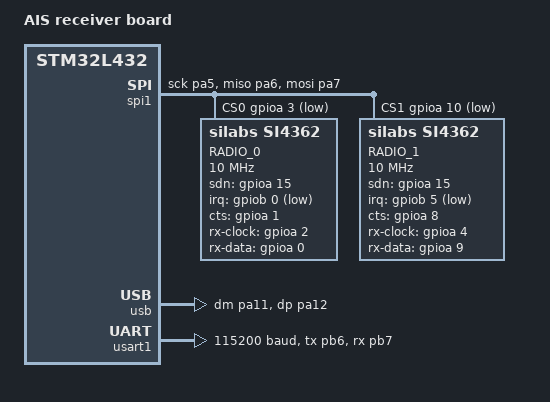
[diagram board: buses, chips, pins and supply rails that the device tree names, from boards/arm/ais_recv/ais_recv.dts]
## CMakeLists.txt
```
cmake_minimum_required(VERSION 3.13.1)

set(BOARD_ROOT "${CMAKE_CURRENT_SOURCE_DIR}")
set(BOARD ais_recv)

set(ZEPHYR_EXTRA_MODULES "${CMAKE_CURRENT_SOURCE_DIR}/hdlc")

find_package(Zephyr REQUIRED HINTS "${CMAKE_CURRENT_SOURCE_DIR}/../zephyr")
project(ais_recv_fw)

target_sources(app PRIVATE
  src/main.c
  src/si4362.c
  src/radio_config_ch1.c
  src/radio_config_ch2.c
  src/radio_patch.c)

set(gen_dir ${ZEPHYR_BINARY_DIR}/include/generated/)
set(source_file hdlc/tests/src/gnuais-stereo-2rx-ch1-bitstream.bin)

generate_inc_file_for_target(app ${source_file} ${gen_dir}/bitstream.inc)
```

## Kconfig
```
# Copyright (c) 2020 Ievgenii Meshcheriakov
# SPDX-License-Identifier: Apache-2.0

mainmenu "AIS Receiver Firmware"

config USB_DEVICE_PID
	default USB_PID_CONSOLE_SAMPLE

config SI4362_INIT_PRIORITY
	int "SI4362 init priority"
	default 75
	help
	  Device initialization priority

config RADIO_IQ_CALIBRATION
	bool "Enable radio IQ calibration"
	default y

config APP_SIMULATE
	bool "Simulate the receiver data"

module = SI4362
module-str = si4362
source "subsys/logging/Kconfig.template.log_config"

source "Kconfig.zephyr"
```

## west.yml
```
manifest:
  remotes:
    - name: zephyrporject-rtos
      url-base: https://github.com/zephyrproject-rtos
  projects:
    - name: zephyr
      remote: zephyrporject-rtos
      revision: f004410aa1a792201e51adcd9358608f74f6f5c3
      import: true
  self:
    path: application
```

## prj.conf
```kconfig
CONFIG_GPIO=y

CONFIG_USB=y
CONFIG_USB_DEVICE_STACK=y
CONFIG_USB_SELF_POWERED=n
CONFIG_USB_DEVICE_PRODUCT="AIS receiver"
CONFIG_USB_CDC_ACM=y

CONFIG_CONSOLE_SUBSYS=y
CONFIG_CONSOLE_GETCHAR=y

CONFIG_UART_INTERRUPT_DRIVEN=y

CONFIG_SPI=y
CONFIG_SPI_STM32_INTERRUPT=y
CONFIG_SPI_STM32_USE_HW_SS=n

CONFIG_HDLC=y
CONFIG_APP_SIMULATE=n

CONFIG_PRINTK=y
CONFIG_SHELL=y
CONFIG_LOG=y
CONFIG_INIT_STACKS=y
CONFIG_THREAD_STACK_INFO=y
CONFIG_KERNEL_SHELL=y
CONFIG_THREAD_MONITOR=y
CONFIG_BOOT_BANNER=n
CONFIG_THREAD_NAME=y

CONFIG_LOG_PRINTK=y
CONFIG_SHELL_BACKEND_SERIAL_INIT_PRIORITY=99

CONFIG_RADIO_IQ_CALIBRATION=y
CONFIG_OPENOCD_SUPPORT=y

# CONFIG_APP_SIMULATE=y
# CONFIG_ASSERT=y
```

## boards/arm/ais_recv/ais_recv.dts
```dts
/*
 * Copyright (c) 2017 Linaro Limited
 *
 * SPDX-License-Identifier: Apache-2.0
 */

/dts-v1/;
#include <st/l4/stm32l432Xc.dtsi>
#include <st/l4/stm32l432k(b-c)ux-pinctrl.dtsi>

/ {
	model = "AIS receiver board";
	compatible = "st,stm32l432";

	chosen {
		zephyr,console = &usart1;
		zephyr,shell-uart = &usart1;
		zephyr,sram = &sram0;
		zephyr,flash = &flash0;
	};
};

&spi1 {
	pinctrl-0 = <&spi1_sck_pa5 &spi1_miso_pa6 &spi1_mosi_pa7>;
	status = "okay";
	cs-gpios = <&gpioa 3 GPIO_ACTIVE_LOW>, <&gpioa 10 GPIO_ACTIVE_LOW>;

	radio0: si4362@0 {
		compatible = "silabs,si4362";
		reg = <0>;
		label = "RADIO_0";
		spi-max-frequency = <10000000>;

		clock-frequency = <32000000>; // oops!
		clock-output; // On GPIO0

		sdn-gpios = <&gpioa 15 GPIO_ACTIVE_HIGH>;
		irq-gpios = <&gpiob 0 (GPIO_PULL_UP | GPIO_ACTIVE_LOW)>;
		cts-gpios = <&gpioa 1 (GPIO_PULL_DOWN | GPIO_ACTIVE_HIGH)>;      // GPIO1
		rx-clock-gpios = <&gpioa 2 (GPIO_PULL_DOWN | GPIO_ACTIVE_HIGH)>; // GPIO2
		rx-data-gpios = <&gpioa 0 (GPIO_PULL_DOWN | GPIO_ACTIVE_HIGH)>;  // GPIO3

	};

	radio1: si4362@1 {
		compatible = "silabs,si4362";
		reg = <1>;
		label = "RADIO_1";
		spi-max-frequency = <10000000>;

		clock-frequency = <32000000>;
		bypass-crystal;
		// SDN is shared
		sdn-gpios = <&gpioa 15 GPIO_ACTIVE_HIGH>;
		irq-gpios = <&gpiob 5 (GPIO_PULL_UP | GPIO_ACTIVE_LOW)>;
		cts-gpios = <&gpioa 8 (GPIO_PULL_DOWN | GPIO_ACTIVE_HIGH)>;      // GPIO1
		rx-clock-gpios = <&gpioa 4 (GPIO_PULL_DOWN | GPIO_ACTIVE_HIGH)>; // GPIO2
		rx-data-gpios = <&gpioa 9 (GPIO_PULL_DOWN | GPIO_ACTIVE_HIGH)>;  // GPIO3
	};
};

&usb {
	pinctrl-0 = <&usb_dm_pa11 &usb_dp_pa12>;
	status = "okay";
};

&usart1 {
	pinctrl-0 = <&usart1_tx_pb6 &usart1_rx_pb7>;
	status = "okay";
	current-speed = <115200>;
};
```

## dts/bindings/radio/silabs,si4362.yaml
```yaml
#
# Copyright (c) 2020 Ievgenii Meshcheriakov
#
# SPDX-License-Identifier: Apache-2.0
#

description: >
    This is a representation of the SiLabs SI4362 radio receiver.

compatible: "silabs,si4362"

include: [spi-device.yaml]

properties:
    clock-frequency:
      type: int
      required: true

    clock-output:
      type: boolean
    bypass-crystal:
      type: boolean

    sdn-gpios:
      type: phandle-array
    irq-gpios:
      type: phandle-array
    cts-gpios:
      type: phandle-array
    rx-clock-gpios:
      type: phandle-array
    rx-data-gpios:
      type: phandle-array
```

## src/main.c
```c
/*
 * Copyright (c) 2020 Ievgenii Meshcheriakov.
 *
 * SPDX-License-Identifier: Apache-2.0
 */

#include <zephyr.h>
#include <kernel.h>
#include <usb/usb_device.h>
#include <stdio.h>
#include <console/tty.h>

#include "hdlc.h"
#include "si4362.h"
#include "radio_configs.h"

#define LOG_LEVEL CONFIG_LOG_DEFAULT_LEVEL
#include <logging/log.h>
LOG_MODULE_REGISTER(app);

#define AIS_NUM_CHANNELS 2
#define AIS_QUEUE_LENGTH 16

K_MSGQ_DEFINE(ais_msgq, 1, AIS_QUEUE_LENGTH, 1);

#define DEF_AIS_CALLBACK(name, index)						\
static void name(const struct device *dev, int raw_bit)				\
{										\
	__ASSERT_NO_MSG(raw_bit >= 0);						\
	uint8_t msg = (index << 1) | (raw_bit & 1);				\
	int ret = k_msgq_put(&ais_msgq, &msg, K_NO_WAIT);			\
	if (ret != 0) {								\
		LOG_ERR("Failed to put message: %d", ret);			\
	}									\
}

DEF_AIS_CALLBACK(ch1_callback, 0)
DEF_AIS_CALLBACK(ch2_callback, 1)

struct ais_config {
	const char *dev_name;
	const uint8_t *config_data;
	si4362_rx_callback callback;
};

struct ais_state {
	const struct device *dev;
	struct hdlc_data hdlc;
	uint8_t channel_index;
};

#define NMEA_MAX_LENGTH 82
#define AIVDM_OVERHEAD (strlen("!AIVDM,0,0,0,A,,0,*00\r\n"))
// Note: this is the limit for multipart messages, it is one greater for single
// part.
#define MAX_SENTENCE_CHARS (NMEA_MAX_LENGTH - AIVDM_OVERHEAD)

static char nmea_buffer[NMEA_MAX_LENGTH + 1];
static uint8_t multipart_counter;

static struct tty_serial tty;

static char get_ascii6(const uint8_t *buf, uint16_t bit_offset)
{
	uint16_t byte_idx = bit_offset / 8;
	uint16_t bit_idx = bit_offset % 8;
	uint8_t n;

	if (bit_idx <= 2) {
		n = (buf[byte_idx] >> (2 - bit_idx)) & 0x3f;
	} else {
		n = ((buf[byte_idx] << (bit_idx - 2)) & 0x3f)
		  | (buf[byte_idx + 1] >> (10 - bit_idx));
	}

	__ASSERT_NO_MSG(n < 64);

	return (n >= 40) ? n + 56 : n + 48;
}

static void hdlc_callback(const struct hdlc_data *hdlc, const uint8_t *buf, size_t len)
{
	const struct ais_state *ais = CONTAINER_OF(hdlc, struct ais_state, hdlc);
	uint16_t num_chars = ceiling_fraction(len * 8, 6);

	bool multipart = num_chars > MAX_SENTENCE_CHARS + 1;
	uint8_t num_parts = multipart ?
		ceiling_fraction(num_chars, MAX_SENTENCE_CHARS) : 1;
	LOG_DBG("len: %zu, chars: %u, parts: %u", len, num_chars, num_parts);

	char channel = 'A' + ais->channel_index;
	uint16_t bit_offset = 0;
	uint16_t remaining_chars = num_chars;

	for (uint8_t part = 1; part <= num_parts; part++) {
		char *p = nmea_buffer;

		/* Put header. */
		if (multipart) {
			p += sprintf(p, "!AIVDM,%u,%u,%u,%c,", num_parts, part,
				     multipart_counter, channel);
		} else {
			p += sprintf(p, "!AIVDM,1,1,,%c,", channel);
		}

		/* Put the data. */
		uint16_t part_chars = remaining_chars;
		if (multipart && remaining_chars > MAX_SENTENCE_CHARS) {
			part_chars = MAX_SENTENCE_CHARS;
		}

		LOG_DBG("part: %u, chars: %u", part, part_chars);

		for (int i = 0; i < part_chars; i++) {
			*p++ = get_ascii6(buf, bit_offset);
			bit_offset += 6;
		}

		remaining_chars -= part_chars;

		/* Add pad info */
		uint8_t pad = 0;

		if (part == num_parts) {
			__ASSERT_NO_MSG(num_chars * 6 >= len * 8);
			pad = num_chars * 6 - len * 8;
		}

		p += sprintf(p, ",%u", pad);

		/* Calculate the checksum. */
		uint8_t sum = 0;

		for (const char *q = nmea_buffer + 1; q < p; q++) {
			sum ^= *q;
		}

		/* Add the checksum and the line end. */
		p += sprintf(p, "*%02X\r\n", sum);

		__ASSERT(PART_OF_ARRAY(nmea_buffer, p), "nmea_buffer overlow");

		tty_write(&tty, nmea_buffer, p - nmea_buffer);
	}

	if (multipart) {
		multipart_counter++;
		if (multipart_counter > 9) {
			multipart_counter = 0;
		}
	}
}

static const struct ais_config ais_configs[AIS_NUM_CHANNELS] = {
	{
		.dev_name = "RADIO_0",
		.config_data = radio_config_ch1,
		.callback = ch1_callback,
	},
	{
		.dev_name = "RADIO_1",
		.config_data = radio_config_ch2,
		.callback = ch2_callback,
	},
};

static struct ais_state ais_states[AIS_NUM_CHANNELS];

static void init_radios(void)
{
	/* Reset devices first because of shared SDN. */
	for (int i = 0; i < ARRAY_SIZE(ais_configs); i++) {
#ifndef CONFIG_APP_SIMULATE
		const char *dev_name = ais_configs[i].dev_name;
		const struct device *dev = device_get_binding(dev_name);
		__ASSERT_NO_MSG(dev != NULL);
		si4362_reset(dev);
		ais_states[i].channel_index = i;
		ais_states[i].dev = dev;
#endif
	}

	for (int i = 0; i < ARRAY_SIZE(ais_configs); i++) {
		hdlc_init(&ais_states[i].hdlc, hdlc_callback);
#ifndef CONFIG_APP_SIMULATE
		const struct ais_config *cfg = &ais_configs[i];
		const struct device *dev = ais_states[i].dev;
		si4362_send_init_commands(dev, radio_patch);
		si4362_send_init_commands(dev, cfg->config_data);
		si4362_set_callback(dev, cfg->callback);
		si4362_configure_interrupt(dev, true);
#endif
	}
}

#ifdef CONFIG_APP_SIMULATE

#define SYM_STACK_SIZE 500
#define SYM_PRIORITY 5

K_THREAD_STACK_DEFINE(sym_stack_area, SYM_STACK_SIZE);
static struct k_thread sym_thread_data;

static const uint8_t bitstream[] = {
#include <bitstream.inc>
};

static void sym_thread(void *arg1, void *arg2, void *arg3)
{
	k_sleep(K_SECONDS(10));

	LOG_INF("simulation started");

	for (size_t i = 0; i < ARRAY_SIZE(bitstream); i++) {
		uint8_t byte = bitstream[i];

		for (int bit = 0; bit < 8; bit++) {
			k_usleep(1000000U / 9600U);
			ch1_callback(NULL, (byte & 1) != 0);
			byte >>= 1;
		}
	}

	LOG_INF("simulation ended");
}

static void start_simulation_thread(void)
{
	k_thread_create(&sym_thread_data, sym_stack_area,
		K_THREAD_STACK_SIZEOF(sym_stack_area),
		sym_thread,
		NULL, NULL, NULL,
		SYM_PRIORITY, 0, K_NO_WAIT);
}

#endif

void main(void)
{
	if (usb_enable(NULL)) {
		k_oops();
		return;
	}

	const struct device *dev = device_get_binding("CDC_ACM_0");
	if (!dev) {
		k_oops();
		return;
	}

	tty_init(&tty, dev);

	init_radios();

#ifdef CONFIG_APP_SIMULATE
	start_simulation_thread();
#endif

	for (;;) {
		uint8_t msg;
		k_msgq_get(&ais_msgq, &msg, K_FOREVER);
		int bit = msg & 1;
		int idx = msg >> 1;

		hdlc_input(&ais_states[idx].hdlc, bit);
	}
}
```

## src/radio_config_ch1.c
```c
#include "radio_configs.h"
#include <autoconf.h>
#ifndef CONFIG_RADIO_IQ_CALIBRATION
#include "radio_config_ch1.h"
#else
#include "radio_config_ch1_cal.h"
#endif

const uint8_t radio_config_ch1[] = RADIO_CONFIGURATION_DATA_ARRAY;
```

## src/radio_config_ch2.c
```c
#include "radio_configs.h"
#include <autoconf.h>
#ifndef CONFIG_RADIO_IQ_CALIBRATION
#include "radio_config_ch2.h"
#else
#include "radio_config_ch2_cal.h"
#endif

const uint8_t radio_config_ch2[] = RADIO_CONFIGURATION_DATA_ARRAY;
```

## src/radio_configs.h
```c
#ifndef APPLICATION_SRC_RADIO_CONFIGS_H_
#define APPLICATION_SRC_RADIO_CONFIGS_H_
#include <stdint.h>

extern const uint8_t radio_config_ch1[];
extern const uint8_t radio_config_ch2[];
extern const uint8_t radio_patch[];

#endif
```

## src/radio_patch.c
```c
#include "radio_configs.h"
#include "si446x_patch.h"

const uint8_t radio_patch[] = {
	SI446X_PATCH_CMDS,
	0x00,
};
```

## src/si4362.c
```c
/*
 * Copyright (c) 2020 Ievgenii Meshcheriakov.
 *
 * SPDX-License-Identifier: Apache-2.0
 */

#define DT_DRV_COMPAT silabs_si4362

#include <errno.h>
#include <device.h>
#include <init.h>
#include <drivers/spi.h>

#include "si4362.h"

#define LOG_LEVEL CONFIG_SI4362_LOG_LEVEL
#include <logging/log.h>
LOG_MODULE_REGISTER(si4362);

#define SI4362_RESET_DELAY K_MSEC(10)
#define SI4362_CTS_TIMEOUT 10000

static void rx_clock_callback_handler(const struct device *port,
	struct gpio_callback *cb, gpio_port_pins_t pins)
{
	struct si4362_drv_data *drv_data =
		CONTAINER_OF(cb, struct si4362_drv_data, rx_clock_cb);

	if (drv_data->rx_callback == NULL) {
		return;
	}

	const struct device *dev = drv_data->dev;
	const struct si4362_config *config = dev->config;

	if (pins & BIT(config->rx_clock.pin)) {
		int data = gpio_pin_get(drv_data->rx_data_dev,
			config->rx_data.pin);
		drv_data->rx_callback(dev, data);
	}
}

int si4362_reset(const struct device *dev)
{
	const struct si4362_config *config = dev->config;
	struct si4362_drv_data *drv_data = dev->data;

	if (!drv_data->sdn_dev) {
		return -ENOTSUP;
	}

	k_sleep(SI4362_RESET_DELAY);
	gpio_pin_set(drv_data->sdn_dev, config->sdn.pin, 1);
	k_sleep(SI4362_RESET_DELAY);
	gpio_pin_set(drv_data->sdn_dev, config->sdn.pin, 0);
	k_sleep(SI4362_RESET_DELAY);

	return 0;
}

int si4362_get_cts(const struct device *dev)
{
	const struct si4362_config *config = dev->config;
	struct si4362_drv_data *drv_data = dev->data;

	if (!drv_data->cts_dev) {
		return -ENOTSUP;
	}

	return gpio_pin_get(drv_data->cts_dev, config->cts.pin);
}

int si4362_configure_interrupt(const struct device *dev, bool enable)
{
	const struct si4362_config *config = dev->config;
	struct si4362_drv_data *drv_data = dev->data;

	if (!drv_data->rx_clock_dev) {
		return -ENOTSUP;
	}

	gpio_flags_t flags = enable ?
		(GPIO_INT_ENABLE | GPIO_INT_EDGE_RISING) :
		GPIO_INT_DISABLE;

	return gpio_pin_interrupt_configure(drv_data->rx_clock_dev,
		config->rx_clock.pin, flags);
}

void si4362_set_callback(const struct device *dev, si4362_rx_callback callback)
{
	struct si4362_drv_data *drv_data = dev->data;
	drv_data->rx_callback = callback;
}

static int send_command(const struct device *dev, size_t len, const void *data)
{
	struct si4362_drv_data *drv_data = dev->data;
	int ret;

	const struct spi_buf tx_buf[] = {
		{
			.len = len,
			.buf = (void *)data,
		},
	};

	const struct spi_buf_set tx = {
		.buffers = tx_buf,
		.count = ARRAY_SIZE(tx_buf),
	};

	ret = spi_write(drv_data->spi, &drv_data->spi_cfg, &tx);
	spi_release(drv_data->spi, &drv_data->spi_cfg);
	return ret;
}

static int get_response(const struct device *dev, size_t len, void *data)
{
	struct si4362_drv_data *drv_data = dev->data;
	int ret;

	uint8_t cmd = 0x44;
	uint8_t cts = 0;

	const struct spi_buf tx_buf[] = {
		{
			.len = 1,
			.buf = &cmd,
		},
		{
			.len = 1,
			.buf = NULL,
		},
	};

	const struct spi_buf rx_buf[] = {
		{
			.len = 1,
			.buf = NULL,
		},
		{
			.len = 1,
			.buf = &cts,
		},
	};

	const struct spi_buf_set tx = {
		.buffers = tx_buf,
		.count = ARRAY_SIZE(tx_buf),
	};

	const struct spi_buf_set rx = {
		.buffers = rx_buf,
		.count = ARRAY_SIZE(rx_buf),
	};

	ret = spi_transceive(drv_data->spi, &drv_data->spi_cfg, &tx, &rx);

	if (ret < 0) {
		goto ret_unlock;
	}

	if (cts != 0xff) {
		ret = -EAGAIN;
		goto ret_unlock;
	}

	/* read the response. */
	ret = 0;
	if (len > 0) {
		const struct spi_buf resp_buf[] = {
			{
				.len = len,
				.buf = data,
			},
		};

		const struct spi_buf_set resp_rx = {
			.buffers = resp_buf,
			.count = ARRAY_SIZE(resp_buf),
		};

		ret = spi_read(drv_data->spi, &drv_data->spi_cfg, &resp_rx);
	}

ret_unlock:
	spi_release(drv_data->spi, &drv_data->spi_cfg);
	return ret;
}

static int transceive(const struct device *dev,
		      size_t tx_len, const void *data_tx,
		      size_t rx_len, void *data_rx)
{
	int ret;
	ret = send_command(dev, tx_len, data_tx);
	if (ret < 0) {
		return ret;
	}

	for (int retries = 0; retries < SI4362_CTS_TIMEOUT; retries++) {
		ret = get_response(dev, rx_len, data_rx);
		if (ret != -EAGAIN) {
			return ret;
		}
	}

	LOG_ERR("CTS timeout exceeded");
	return -EIO;
}

int si4362_send_init_commands(const struct device *dev, const uint8_t *cmds)
{
	const uint8_t *p = cmds;
	int ret = 0;

	for (;;) {
		size_t cmd_len = *p++;
		if (cmd_len == 0) {
			break;
		}

		LOG_DBG("command: 0x%02x (len = %d)", (int)*p, (int)cmd_len);

		ret = transceive(dev, cmd_len, p, 0, NULL);
		if (ret < 0) {
			return ret;
		}

		p += cmd_len;
	}

	return 0;
}

#define CONFIGURE_PIN(name, extra_flags)					\
({if (config->name.dev) {							\
	drv_data->name##_dev = device_get_binding(config->name.dev);		\
	if (!drv_data->name##_dev) {						\
		LOG_ERR("Unable to get GPI device for " #name);			\
		return -ENODEV;							\
	}									\
	int ret = gpio_pin_configure(drv_data->name##_dev, config->name.pin,	\
		config->name.flags | (extra_flags));				\
	if (ret < 0) {								\
		return ret;							\
	}									\
	LOG_DBG(#name " configured on %s:%u",					\
		config->name.dev, config->name.pin);				\
}})

static int si4362_init(const struct device *dev)
{
	const struct si4362_config *config = dev->config;
	struct si4362_drv_data *drv_data = dev->data;

	drv_data->dev = dev;
	drv_data->rx_callback = NULL;

	drv_data->spi = device_get_binding(config->spi_dev_name);
	if (!drv_data->spi) {
		LOG_ERR("Unable to get SPI device");
		return -ENODEV;
	}

	if (config->cs.dev) {
		/* handle SPI CS thru GPIO if it is the case */
		drv_data->cs_ctrl.gpio_dev = device_get_binding(config->cs.dev);
		if (!drv_data->cs_ctrl.gpio_dev) {
			LOG_ERR("Unable to get GPIO SPI CS device");
			return -ENODEV;
		}
		drv_data->cs_ctrl.gpio_pin = config->cs.pin;
		drv_data->cs_ctrl.gpio_dt_flags = config->cs.flags;
		drv_data->cs_ctrl.delay = 1;

		drv_data->spi_cfg.cs = &drv_data->cs_ctrl;

		gpio_pin_configure(drv_data->cs_ctrl.gpio_dev,
			config->cs.pin,
			config->cs.flags | GPIO_OUTPUT_HIGH);

		LOG_DBG("CS configured on %s:%u", config->cs.dev,
			config->cs.flags);
	}

	drv_data->spi_cfg.frequency = config->freq;
	// FIXME
	drv_data->spi_cfg.operation = SPI_OP_MODE_MASTER |
				      SPI_TRANSFER_MSB |
				      SPI_WORD_SET(8) |
				      SPI_LINES_SINGLE |
				      SPI_HOLD_ON_CS |
				      SPI_LOCK_ON;
	drv_data->spi_cfg.slave = config->slave;


	CONFIGURE_PIN(sdn, GPIO_OUTPUT_LOW);
	CONFIGURE_PIN(irq, GPIO_INPUT);
	CONFIGURE_PIN(cts, GPIO_INPUT);
	CONFIGURE_PIN(rx_clock, GPIO_INPUT);
	CONFIGURE_PIN(rx_data, GPIO_INPUT);

	if (drv_data->rx_clock_dev) {
		gpio_init_callback(&drv_data->rx_clock_cb,
			&rx_clock_callback_handler,
			BIT(config->rx_clock.pin));
		gpio_add_callback(drv_data->rx_clock_dev,
			&drv_data->rx_clock_cb);
	}

	si4362_reset(dev);

	return 0;
}

#define PIN_CONFIG(inst, name)			\
{						\
	.dev = DT_INST_GPIO_LABEL(inst, name),	\
	.pin = DT_INST_GPIO_PIN(inst, name),	\
	.flags = DT_INST_GPIO_FLAGS(inst, name)	\
}


#define SI4362_INIT(inst)							\
	static const struct si4362_config si4362_##inst##_config = {		\
		.spi_dev_name = DT_INST_BUS_LABEL(inst),			\
		.slave = DT_INST_REG_ADDR(inst),				\
		.freq = DT_INST_PROP(inst, spi_max_frequency),			\
										\
		IF_ENABLED(DT_INST_SPI_DEV_HAS_CS_GPIOS(inst),			\
			(.cs = {						\
				DT_INST_SPI_DEV_CS_GPIOS_LABEL(inst),		\
				DT_INST_SPI_DEV_CS_GPIOS_PIN(inst),		\
				DT_INST_SPI_DEV_CS_GPIOS_FLAGS(inst),		\
			},))							\
										\
		IF_ENABLED(DT_INST_NODE_HAS_PROP(inst, sdn_gpios),		\
			(.sdn = PIN_CONFIG(inst, sdn_gpios),))			\
		IF_ENABLED(DT_INST_NODE_HAS_PROP(inst, irq_gpios),		\
			(.irq = PIN_CONFIG(inst, irq_gpios),))			\
		IF_ENABLED(DT_INST_NODE_HAS_PROP(inst, cts_gpios),		\
			(.cts = PIN_CONFIG(inst, cts_gpios),))			\
		IF_ENABLED(DT_INST_NODE_HAS_PROP(inst, rx_clock_gpios),		\
			(.rx_clock = PIN_CONFIG(inst, rx_clock_gpios),))	\
		IF_ENABLED(DT_INST_NODE_HAS_PROP(inst, rx_data_gpios),		\
			(.rx_data = PIN_CONFIG(inst, rx_data_gpios),))		\
	};									\
										\
	static struct si4362_drv_data si4362_##inst##_drvdata = {		\
	};									\
										\
	DEVICE_AND_API_INIT(si4362_##inst, DT_INST_LABEL(inst),			\
			    si4362_init, &si4362_##inst##_drvdata,		\
			    &si4362_##inst##_config,				\
			    POST_KERNEL,					\
			    CONFIG_SI4362_INIT_PRIORITY, NULL);

DT_INST_FOREACH_STATUS_OKAY(SI4362_INIT)
```

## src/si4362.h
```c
/*
 * Copyright (c) 2020 Ievgenii Meshcheriakov.
 *
 * SPDX-License-Identifier: Apache-2.0
 */

#ifndef APPLICATION_SRC_SI4362_H_
#define APPLICATION_SRC_SI4362_H_

#include <kernel.h>
#include <drivers/spi.h>
#include <drivers/gpio.h>

#ifdef __cplusplus
extern "C" {
#endif

typedef void (*si4362_rx_callback)(const struct device *dev, int bit);

/* FIXME why is this not a standard type??? */
struct si4362_gpio_pin_config {
	const char *dev;
	gpio_pin_t pin;
	gpio_dt_flags_t flags;
};

struct si4362_config {
	const char *spi_dev_name;
	uint16_t slave;
	uint32_t freq;
	struct si4362_gpio_pin_config cs;
	struct si4362_gpio_pin_config sdn;
	struct si4362_gpio_pin_config irq;
	struct si4362_gpio_pin_config cts;
	struct si4362_gpio_pin_config rx_clock;
	struct si4362_gpio_pin_config rx_data;
};

struct si4362_drv_data {
	/** Master SPI device */
	const struct device *spi;
	struct spi_config spi_cfg;
	struct spi_cs_control cs_ctrl;

	/* Backling to ease handling of GPIO interrupts. */
	const struct device *dev;

	const struct device *sdn_dev;
	const struct device *irq_dev;
	const struct device *cts_dev;
	const struct device *rx_clock_dev;
	const struct device *rx_data_dev;

	struct gpio_callback rx_clock_cb;
	si4362_rx_callback rx_callback;
};

#define SI4362_CMD_NOP       0x00
#define SI4362_CMD_PART_INFO 0x01
#define SI4362_CMD_POWER_UP  0x02
#define SI4362_CMD_FUNC_INFO 0x10

struct si4362_part_info {
	uint8_t chip_rev;
	uint16_t part;
	uint8_t pbuild;
	uint16_t id;
	uint8_t customer;
	uint8_t rom_id;
};

struct si4362_func_info {
	uint8_t rev_ext;
	uint8_t rev_branch;
	uint8_t rev_int;
	uint16_t patch;
	uint8_t func;
};

int si4362_reset(const struct device *dev);
int si4362_get_cts(const struct device *dev);
int si4362_configure_interrupt(const struct device *dev, bool enable);
void si4362_set_callback(const struct device *dev, si4362_rx_callback callback);

int si4362_send_init_commands(const struct device *dev, const uint8_t *cmds);

// int si4362_part_info(const struct device *dev, struct si4362_part_info *info);
// int si4362_func_info(const struct device *dev, struct si4362_func_info *info);

#ifdef __cplusplus
}
#endif

#endif
```

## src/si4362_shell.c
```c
/*
 * Copyright (c) 2020 Ievgenii Meshcheriakov.
 *
 * SPDX-License-Identifier: Apache-2.0
 */

#include <shell/shell.h>
#include "si4362.h"

#define GET_DEVICE(shell)							\
const struct device *dev = device_get_binding("RX_1");				\
if (!dev) {									\
	shell_error(shell, "Failed to get the device");				\
	return -ENODEV;								\
}

static int cmd_cts(const struct shell *shell, size_t argc, char **argv)
{
	GET_DEVICE(shell);

	int cts = si4362_get_cts(dev);
	shell_print(shell, "%d\n", cts);
	return 0;
}

static int cmd_shutdown(const struct shell *shell, size_t argc, char **argv)
{
	GET_DEVICE(shell);

	bool new_state = 0;

	if (!strcmp(argv[1], "on")) {
		new_state = true;
	} else if (!strcmp(argv[1], "off")) {
		new_state = false;
	} else {
		shell_error(shell, "on|off");
		return -EINVAL;
	}

	shell_print(shell, "Setting SDN to %d", (int)new_state);
	return si4362_shutdown(dev, new_state);
}

SHELL_STATIC_SUBCMD_SET_CREATE(si4362_cmds,
	SHELL_CMD_ARG(cts, NULL, "Show CTS pin state", cmd_cts, 1, 0),
	SHELL_CMD_ARG(shutdown, NULL, "Set SDN pin state", cmd_shutdown, 2, 0),
	SHELL_SUBCMD_SET_END
);

SHELL_CMD_REGISTER(si4362, &si4362_cmds, "SI4362 shell commands", NULL);
```
